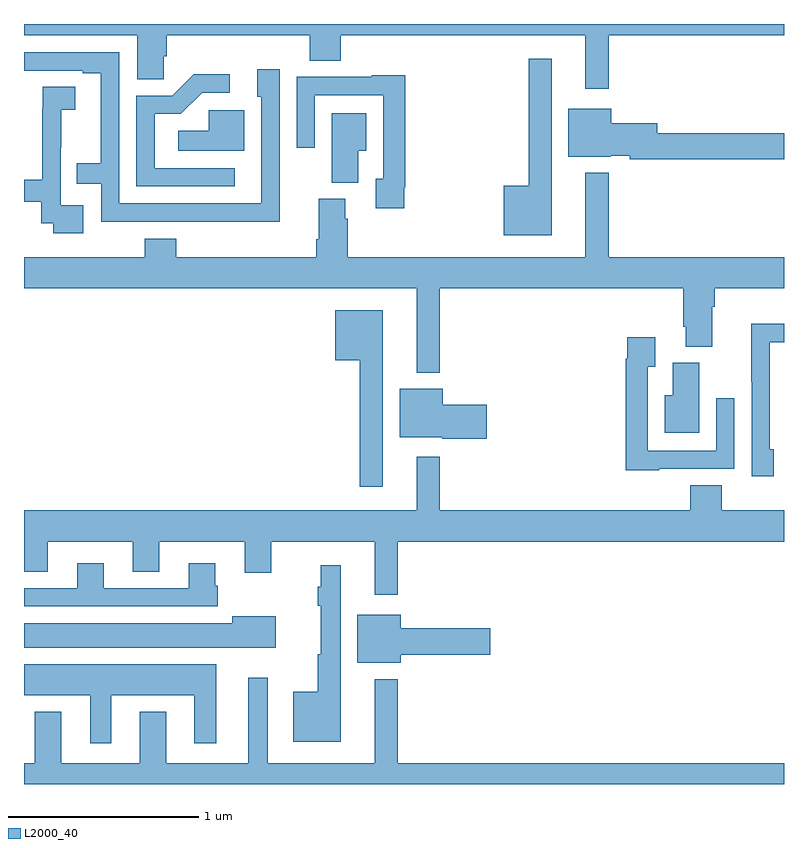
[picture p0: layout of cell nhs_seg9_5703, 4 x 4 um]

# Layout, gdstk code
import gdstk
lib = gdstk.Library(unit=1e-6, precision=1e-09)
def P(c, l, *ps):  # polygons
    for p in ps: c.add(gdstk.Polygon(p, *l))
L2000_40 = (2000, 40)

nhs_seg9_5703 = lib.new_cell('nhs_seg9_5703')
P(nhs_seg9_5703, L2000_40, [(443,1176.44),(443.597,1176.44),(443.597,1176.208),(443.736,1176.208),(443.736,1176.331),(443.75,1176.331),(443.75,1176.44),(444.503,1176.44),(444.503,1176.307),(444.668,1176.307),(444.668,1176.44),(445.955,1176.44),(445.955,1176.159),(446.077,1176.159),(446.077,1176.44),(447,1176.44),(447,1176.5),(443,1176.5)],
  [(444.347,1175.762),(444.345,1175.762),(444.345,1176.262),(444.227,1176.262),(444.227,1176.117),(444.249,1176.117),(444.249,1175.556),(443.502,1175.556),(443.502,1176.351),(443,1176.351),(443,1176.255),(443.309,1176.255),(443.309,1176.24),(443.405,1176.24),(443.405,1175.767),(443.278,1175.767),(443.278,1175.658),(443.406,1175.658),(443.406,1175.46),(443.884,1175.46),(443.884,1175.459),(444.347,1175.459)],
  [(445.777,1176.316),(445.656,1176.316),(445.656,1175.65),(445.526,1175.65),(445.526,1175.387),(445.777,1175.387)],
  [(444.109,1175.742),(443.688,1175.742),(443.688,1176.027),(443.826,1176.027),(443.937,1176.138),(444.082,1176.138),(444.082,1176.236),(443.894,1176.236),(443.781,1176.123),(443.592,1176.123),(443.592,1175.646),(444.109,1175.646)],
  [(445,1175.641),(445.007,1175.641),(445.007,1176.229),(444.831,1176.229),(444.831,1176.222),(444.435,1176.222),(444.435,1175.85),(444.531,1175.85),(444.531,1176.126),(444.891,1176.126),(444.891,1175.685),(444.851,1175.685),(444.851,1175.529),(445,1175.529)],
  [(443.311,1175.547),(443.193,1175.547),(443.193,1175.851),(443.195,1175.851),(443.195,1176.049),(443.269,1176.049),(443.269,1176.17),(443.098,1176.17),(443.098,1176.059),(443.096,1176.059),(443.096,1175.681),(443,1175.681),(443,1175.565),(443.092,1175.565),(443.092,1175.451),(443.155,1175.451),(443.155,1175.4),(443.311,1175.4)],
  [(447,1175.924),(446.332,1175.924),(446.332,1175.977),(446.092,1175.977),(446.092,1176.055),(445.865,1176.055),(445.865,1175.801),(446.088,1175.801),(446.088,1175.807),(446.188,1175.807),(446.188,1175.788),(447,1175.788)],
  [(444.16,1176.045),(443.973,1176.045),(443.973,1175.938),(443.811,1175.938),(443.811,1175.834),(444.16,1175.834)],
  [(444.76,1175.834),(444.802,1175.834),(444.802,1176.031),(444.62,1176.031),(444.62,1175.665),(444.76,1175.665)],
  [(445.189,1175.108),(446.471,1175.108),(446.471,1174.906),(446.483,1174.906),(446.483,1174.801),(446.623,1174.801),(446.623,1175.012),(446.636,1175.012),(446.636,1175.108),(447,1175.108),(447,1175.272),(446.077,1175.272),(446.077,1175.716),(445.955,1175.716),(445.955,1175.272),(444.704,1175.272),(444.704,1175.474),(444.691,1175.474),(444.691,1175.58),(444.551,1175.58),(444.551,1175.368),(444.539,1175.368),(444.539,1175.272),(443.801,1175.272),(443.801,1175.371),(443.636,1175.371),(443.636,1175.272),(443,1175.272),(443,1175.108),(445.067,1175.108),(445.067,1174.664),(445.189,1174.664)],
  [(444.889,1174.993),(444.638,1174.993),(444.638,1174.73),(444.768,1174.73),(444.768,1174.065),(444.889,1174.065)],
  [(446.947,1174.263),(446.925,1174.263),(446.925,1174.824),(447,1174.824),(447,1174.922),(446.828,1174.922),(446.828,1174.618),(446.829,1174.618),(446.829,1174.119),(446.947,1174.119)],
  [(446.343,1174.158),(446.739,1174.158),(446.739,1174.531),(446.643,1174.531),(446.643,1174.254),(446.283,1174.254),(446.283,1174.696),(446.323,1174.696),(446.323,1174.852),(446.175,1174.852),(446.175,1174.739),(446.167,1174.739),(446.167,1174.151),(446.343,1174.151)],
  [(446.554,1174.716),(446.414,1174.716),(446.414,1174.546),(446.372,1174.546),(446.372,1174.349),(446.554,1174.349)],
  [(445.435,1174.496),(445.204,1174.496),(445.204,1174.579),(444.977,1174.579),(444.977,1174.325),(445.2,1174.325),(445.2,1174.318),(445.435,1174.318)],
  [(444.967,1173.776),(447,1173.776),(447,1173.94),(446.672,1173.94),(446.672,1174.073),(446.507,1174.073),(446.507,1173.94),(445.189,1173.94),(445.189,1174.222),(445.067,1174.222),(445.067,1173.94),(443,1173.94),(443,1173.616),(443.125,1173.616),(443.125,1173.776),(443.573,1173.776),(443.573,1173.616),(443.713,1173.616),(443.713,1173.776),(444.161,1173.776),(444.161,1173.612),(444.301,1173.612),(444.301,1173.776),(444.845,1173.776),(444.845,1173.495),(444.967,1173.495)],
  [(444.02,1173.543),(444.007,1173.543),(444.007,1173.661),(443.867,1173.661),(443.867,1173.531),(443.419,1173.531),(443.419,1173.661),(443.279,1173.661),(443.279,1173.531),(443,1173.531),(443,1173.435),(444.02,1173.435)],
  [(444.667,1173.652),(444.561,1173.652),(444.561,1173.539),(444.546,1173.539),(444.546,1173.439),(444.563,1173.439),(444.563,1173.182),(444.546,1173.182),(444.546,1172.986),(444.416,1172.986),(444.416,1172.723),(444.667,1172.723)],
  [(444.982,1173.179),(445.453,1173.179),(445.453,1173.321),(444.982,1173.321),(444.982,1173.391),(444.755,1173.391),(444.755,1173.137),(444.982,1173.137)],
  [(444.325,1173.382),(444.095,1173.382),(444.095,1173.346),(443,1173.346),(443,1173.218),(444.325,1173.218)],
  [(443.458,1172.966),(443.897,1172.966),(443.897,1172.715),(444.013,1172.715),(444.013,1173.13),(443,1173.13),(443,1172.966),(443.348,1172.966),(443.348,1172.715),(443.458,1172.715)],
  [(447,1172.608),(444.967,1172.608),(444.967,1173.052),(444.845,1173.052),(444.845,1172.608),(444.283,1172.608),(444.283,1173.058),(444.179,1173.058),(444.179,1172.608),(443.749,1172.608),(443.749,1172.881),(443.609,1172.881),(443.609,1172.608),(443.197,1172.608),(443.197,1172.881),(443.057,1172.881),(443.057,1172.608),(443,1172.608),(443,1172.5),(447,1172.5)])

lib.write_gds('nhs_seg9_5703.gds')
